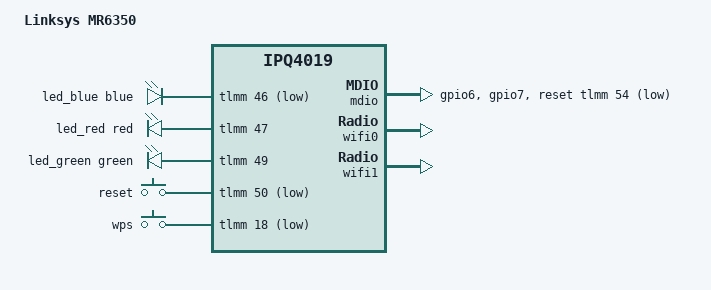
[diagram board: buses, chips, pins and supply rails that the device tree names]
// SPDX-License-Identifier: GPL-2.0-or-later OR MIT

#include "qcom-ipq4019-xx8300.dtsi"
#include <dt-bindings/leds/common.h>

/ {
	model = "Linksys MR6350";
	compatible = "linksys,mr6350", "qcom,ipq4019";

	aliases {
		led-boot = &led_blue;
		led-failsafe = &led_red;
		led-running = &led_green;
		led-upgrade = &led_blue;
		serial0 = &blsp1_uart1;
	};

	// Top panel LEDs, above Linksys logo
	leds {
		compatible = "gpio-leds";
		
		led_blue: led-blue {
			color = <LED_COLOR_ID_BLUE>;
			function = LED_FUNCTION_STATUS;
			gpios = <&tlmm 46 GPIO_ACTIVE_LOW>;
		};

		led_red: led-red {
			color = <LED_COLOR_ID_RED>;
			function = LED_FUNCTION_STATUS;
			gpios = <&tlmm 47 GPIO_ACTIVE_HIGH>;
			panic-indicator;
		};

		led_green: led-green {
			color = <LED_COLOR_ID_GREEN>;
			function = LED_FUNCTION_STATUS;
			gpios = <&tlmm 49 GPIO_ACTIVE_HIGH>;
		};
	};

	keys {
		compatible = "gpio-keys";

		button-reset {
			label = "reset";
			linux,code = <KEY_RESTART>;
			gpios = <&tlmm 50 GPIO_ACTIVE_LOW>;
		};

		button-wps {
			label = "wps";
			linux,code = <KEY_WPS_BUTTON>;
			gpios = <&tlmm 18 GPIO_ACTIVE_LOW>;
		};
	};
};

&mdio {
	status = "okay";
	pinctrl-0 = <&mdio_pins>;
	pinctrl-names = "default";
	reset-gpios = <&tlmm 54 GPIO_ACTIVE_LOW>;
	reset-delay-us = <2000>;
	reset-post-delay-us = <5000>;
};
	
&tlmm {
	status = "okay";

	mdio_pins: mdio_pinmux {
		mdio {
			pins = "gpio6";
			function = "mdio";
			bias-pull-up;
		};

		mdc {
			pins = "gpio7";
			function = "mdc";
			bias-pull-up;
		};
	};
};

&wifi0 {
	status = "okay";
	qcom,ath10k-calibration-variant = "Linksys-MR6350";
};

&wifi1 {
	status = "okay";
	qcom,ath10k-calibration-variant = "Linksys-MR6350";
};

&swport1 {
	label = "wan";
};

&swport2 {
	label = "lan1";
};

&swport3 {
	label = "lan2";
};

&swport4 {
	label = "lan3";
};

&swport5 {
	label = "lan4";
};
